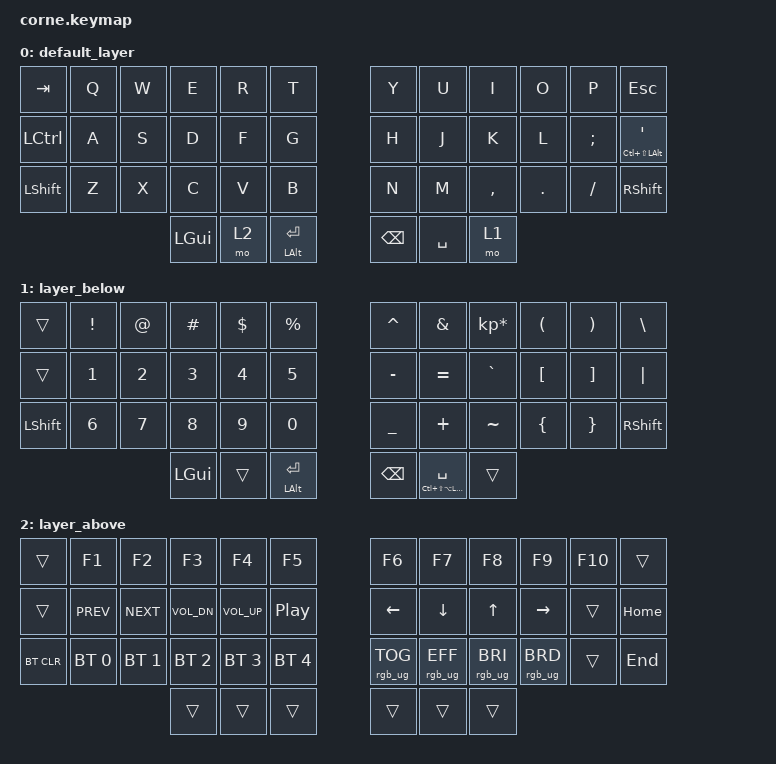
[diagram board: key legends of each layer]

/*
 * Copyright (c) 2020 The ZMK Contributors
 *
 * SPDX-License-Identifier: MIT
 */

#include <behaviors.dtsi>
#include <dt-bindings/zmk/keys.h>
#include <dt-bindings/zmk/bt.h>
#include <dt-bindings/led/led.h>
#include <dt-bindings/zmk/rgb.h>

&led_strip { chain-length = <42>; };

/ {
    behaviors {
        tp: tap_preferred {
            compatible = "zmk,behavior-hold-tap";
            label = "TAP_PREFERRED";
            #binding-cells = <2>;
            tapping-term-ms = <150>;
            quick-tap-ms = <0>;
            flavor = "tap-preferred";
            bindings = <&kp>, <&kp>;
        };
    };

    chosen { zmk,underglow = &led_strip; };

    keymap {
        compatible = "zmk,keymap";

        default_layer {
            // -----------------------------------------------------------------------------------------
            // | TAB  |  Q  |  W  |  E  |  R  |    T    |   |  Y  |  U   |  I  |  O  |  P  | ESC |
            // | CTRL |  A  |  S  |  D  |  F  |    G    |   |  H  |  J   |  K  |  L  |  ;  |  '   |
            // | SHFT |  Z  |  X  |  C  |  V  |    B    |   |  N  |  M   |  ,  |  .  |  /  | SHFT |
            //                    | GUI | RSE | ALT/ENT |   | BKSP | HYPER/SPC  | LWR |

            bindings = <
&kp TAB    &kp Q  &kp W  &kp E     &kp R  &kp T           &kp Y                           &kp U      &kp I      &kp O    &kp P     &kp ESC
&kp LCTRL  &kp A  &kp S  &kp D     &kp F  &kp G           &kp H                           &kp J      &kp K      &kp L    &kp SEMI  &tp LC(LS(LALT)) SQT
&kp LSHFT  &kp Z  &kp X  &kp C     &kp V  &kp B           &kp N                           &kp M      &kp COMMA  &kp DOT  &kp FSLH  &kp RSHFT
                         &kp LGUI  &mo 2  &tp LALT RET    &kp BSPC                        &kp SPACE  &mo 1
            >;
        };

        layer_below {
            // -----------------------------------------------------------------------------------------
            // |      |  !  |  @  |  #  |  $  |    %     |   |  ^  |  &  |  *  |  (  |  )  |   \   |
            // |      |  1  |  2  |  3  |  4  |    5     |   |  -  |  =  |  `  |  [  |  ]  |  "|"  |
            // | SHFT |  6  |  7  |  8  |  9  |    0     |   |  _  |  +  |  ~  |  {  |  }  | RSHFT |
            //                     | GUI |     | ALT/ENT |   | BKSP | HYPER/SPACE |    |

            bindings = <
&trans     &kp EXCL  &kp AT  &kp HASH  &kp DLLR  &kp PRCNT       &kp CARET                   &kp AMPS   &kp KP_MULTIPLY  &kp LPAR  &kp RPAR  &kp BSLH
&trans     &kp N1    &kp N2  &kp N3    &kp N4    &kp N5          &kp MINUS                   &kp EQUAL  &kp GRAVE        &kp LBKT  &kp RBKT  &kp PIPE
&kp LSHFT  &kp N6    &kp N7  &kp N8    &kp N9    &kp N0          &kp UNDER                   &kp PLUS   &kp TILDE        &kp LBRC  &kp RBRC  &kp RSHFT
                             &kp LGUI  &trans    &tp LALT RET    &kp BSPC                    &tp LC(LS(LA(LGUI))) SPACE     &trans
            >;
        };

        layer_above {
            // -----------------------------------------------------------------------------------------
            // |  |  F1  |  F2  |  F3  |  F4  |  F5 |            |  F6  |  F7     |  F8     |  F9        |  F10     |     |
            // |  | Prev | Next | Vol - | Vol + | Play/Pause |   |      | LFT     | DWN     |  UP        |  RGT     |     |  HOME   |
            // |  BTCLR  | BT1 | BT2 | BT3 | BT4 | BT5 |   |            | RGB_TOG | RGB_EFF |  RGB_BRI   |  RGB_BRD |     |   END  |
            //                    |     |     |    |                  |     |     |     |

            bindings = <
&trans          &kp F1        &kp F2        &kp F3        &kp F4        &kp F5          &kp F6    &kp F7    &kp F8  &kp F9     &kp F10    &trans    
&trans          &kp C_PREV    &kp C_NEXT    &kp C_VOL_DN  &kp C_VOL_UP  &kp C_PP        &kp LEFT  &kp DOWN  &kp UP  &kp RIGHT  &trans   &kp HOME
&bt BT_CLR      &bt BT_SEL 0  &bt BT_SEL 1  &bt BT_SEL 2  &bt BT_SEL 3  &bt BT_SEL 4    &rgb_ug RGB_TOG   &rgb_ug RGB_EFF     &rgb_ug RGB_BRI    &rgb_ug RGB_BRD     &trans   &kp END
                                    &trans        &trans        &trans          &trans    &trans    &trans
            >;
        };
    };
};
